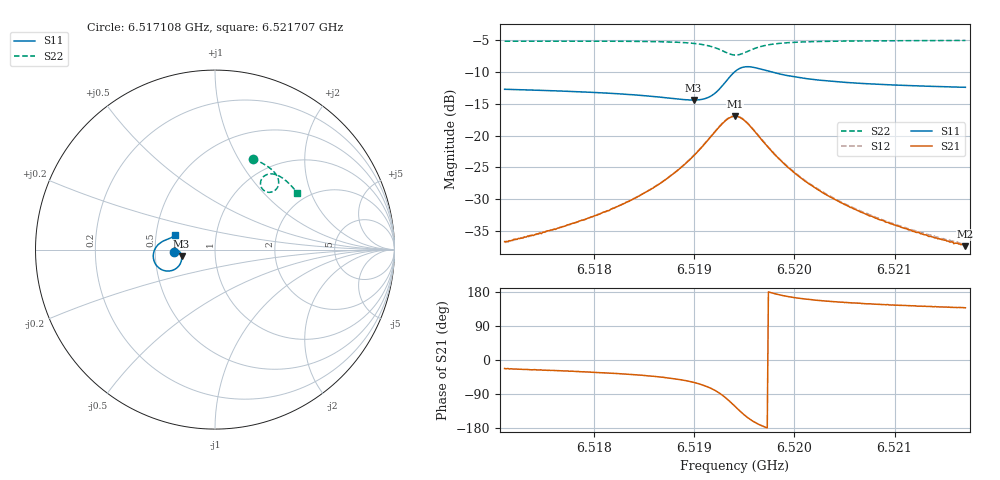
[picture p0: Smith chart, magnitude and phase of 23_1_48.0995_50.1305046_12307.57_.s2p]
#  HZ  S  RI  R  50.00
! Rohde & Schwarz Vector Network Analyzer
! Rohde-Schwarz,ZNB20-2Port,1311601062101988,3.16
! Created: UTC 12/23/2023, 3:36:51 AM
! freq[Hz]  re:S11  im:S11  re:S21  im:S21  re:S12  im:S12  re:S22  im:S22
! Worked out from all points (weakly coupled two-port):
!   401 points, 6.517108 GHz to 6.521707 GHz, reference 50 ohm
!   highest |S21| = -16.98 dB at 6.519408 GHz (marker M1); lowest = -37.3 dB at 6.521707 GHz (marker M2)
!   lowest |S11| = -14.4 dB at 6.518994 GHz (marker M3), VSWR 1.47, Z = 34.2 - j2.48 ohm
!   |S11| at or under -10 dB: start of sweep to 6.519405 GHz; 6.519764 GHz to end of sweep
!   |S22| runs from -7.4 to -5.1 dB; largest |S21 - S12| = 0.0042
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6.5171082e9  -0.2299 -0.0149  0.0136 -0.00565  0.0137 -0.00523  0.2117 0.5062
6.5174876e9  -0.2257 -0.00944  0.0156 -0.00789  0.0158 -0.00729  0.2397 0.4939
6.5178786e9  -0.2198 -0.00515  0.0186 -0.0111  0.0189 -0.0105  0.2685 0.479
6.518281e9  -0.2115 -0.00349  0.0232 -0.0172  0.0237 -0.0165  0.2988 0.4594
6.5186489e9  -0.2002 -0.00889  0.0296 -0.0292  0.0306 -0.0284  0.3274 0.4346
6.5188214e9  -0.1932 -0.0172  0.0333 -0.0402  0.0349 -0.0392  0.3408 0.4176
6.5189938e9  -0.1866 -0.035  0.0358 -0.0593  0.0377 -0.0586  0.3522 0.3932
6.5190973e9  -0.1858 -0.0541  0.033 -0.078  0.0355 -0.0775  0.3549 0.3722
6.5191893e9  -0.1936 -0.0791  0.0221 -0.1005  0.0252 -0.1006  0.3493 0.3489
6.5193158e9  -0.2379 -0.1158  -0.023 -0.1294  -0.0192 -0.1312  0.3147 0.3205
6.5193618e9  -0.2666 -0.1195  -0.0493 -0.1298  -0.046 -0.1323  0.2938 0.3197
6.5194078e9  -0.2972 -0.1116  -0.0758 -0.1196  -0.073 -0.1226  0.2734 0.3285
6.5194537e9  -0.3226 -0.0924  -0.0964 -0.1001  -0.0943 -0.1035  0.2589 0.3453
6.5195112e9  -0.3406 -0.0601  -0.1087 -0.0699  -0.1075 -0.0735  0.2534 0.3703
6.5196032e9  -0.3408 -0.0133  -0.1037 -0.0297  -0.1038 -0.0328  0.2657 0.4016
6.5197067e9  -0.3245 0.0189  -0.0862 -0.00465  -0.0867 -0.00718  0.2888 0.4179
6.5199252e9  -0.2921 0.0457  -0.0561 0.0119  -0.057 0.0104  0.3291 0.4203
6.5201781e9  -0.27 0.0558  -0.0376 0.0144  -0.0384 0.0136  0.3593 0.4088
6.5205345e9  -0.2526 0.0625  -0.0245 0.0134  -0.0253 0.0129  0.3897 0.3886
6.5209485e9  -0.2403 0.0684  -0.0169 0.0117  -0.0176 0.0112  0.4166 0.364
6.5213509e9  -0.2317 0.074  -0.0126 0.0101  -0.0132 0.0101  0.4391 0.3394
6.5217073e9  -0.2255 0.0788  -0.0101 0.00912  -0.0106 0.00907  0.4569 0.3174
